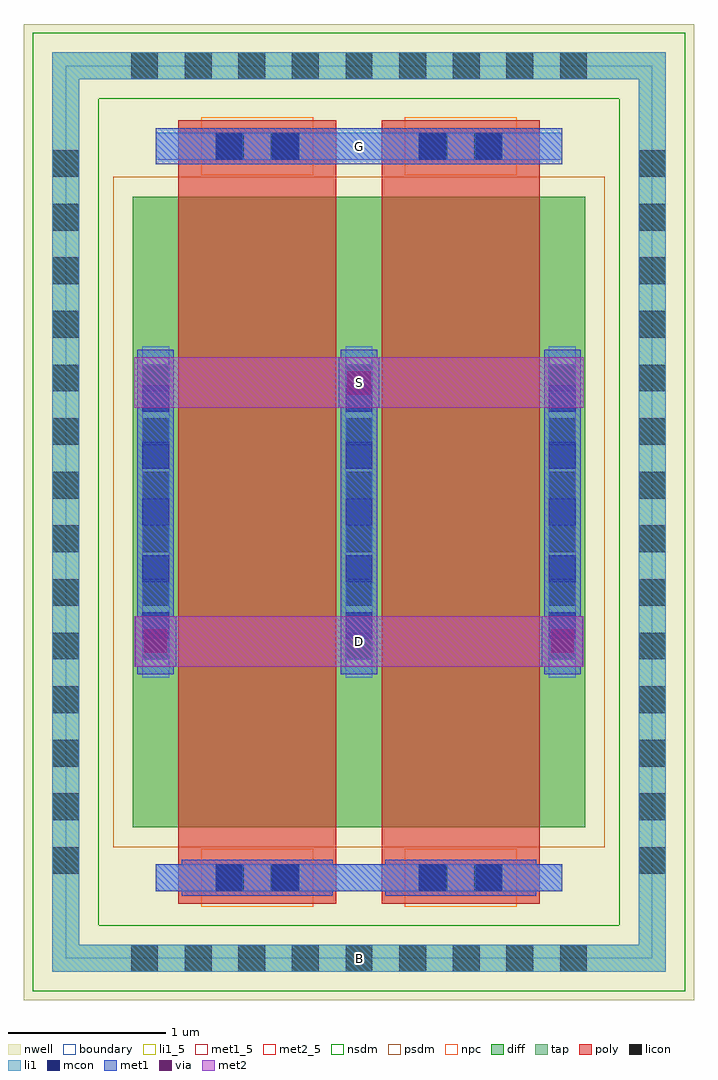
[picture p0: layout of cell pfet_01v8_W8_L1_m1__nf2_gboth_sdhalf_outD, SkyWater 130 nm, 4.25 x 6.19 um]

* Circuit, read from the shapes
.subckt pfet_01v8_W8_L1_m1__nf2_gboth_sdhalf_outD B D G S
XM1 S G D B sky130_fd_pr__pfet_01v8 w=4 l=1 m=2
.ends

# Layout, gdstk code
import gdstk
lib = gdstk.Library(unit=1e-6, precision=1e-09)
def R(c, l, rs):  # rectangles x0, y0, x1, y1
    for r in rs: c.add(gdstk.rectangle(r[:2], r[2:], *l))
def A(c, l, x, y, w, h, nx, ny, dx, dy):  # array of equal rectangles
    R(c, l, [(x+i*dx, y+j*dy, x+i*dx+w, y+j*dy+h) for i in range(nx) for j in range(ny)])
nwell = (64, 20)
diff = (65, 20)
tap = (65, 44)
poly = (66, 20)
licon = (66, 44)
li1_5 = (67, 5)
li1 = (67, 20)
mcon = (67, 44)
met1_5 = (68, 5)
met1 = (68, 20)
via = (68, 44)
met2_5 = (69, 5)
met2 = (69, 20)
nsdm = (93, 44)
psdm = (94, 20)
npc = (95, 20)
boundary = (235, 4)

sky130_fd_pr__pfet_01v8_ = lib.new_cell('sky130_fd_pr__pfet_01v8_GST8CF')
R(sky130_fd_pr__pfet_01v8_, nwell, [(-2.125,-3.095,2.125,3.095)])
R(sky130_fd_pr__pfet_01v8_, diff, [(-1.435,-2,1.435,2)])
R(sky130_fd_pr__pfet_01v8_, tap, [(-1.945,-2.915,1.945,-2.745), (-1.945,-2.745,-1.775,2.745), (1.775,-2.745,1.945,2.745), (-1.945,2.745,1.945,2.915)])
R(sky130_fd_pr__pfet_01v8_, poly, [(-1.145,-2.485,-0.145,2.485), (0.145,-2.485,1.145,2.485)])
A(sky130_fd_pr__pfet_01v8_, licon, -1.445, -2.915, 0.17, 0.17, 9, 2, 0.34, 5.66)
A(sky130_fd_pr__pfet_01v8_, licon, -1.945, -2.295, 0.17, 0.17, 1, 14, 0, 0.34)
A(sky130_fd_pr__pfet_01v8_, licon, 1.775, -2.295, 0.17, 0.17, 1, 14, 0, 0.34)
A(sky130_fd_pr__pfet_01v8_, licon, -1.375, -0.935, 0.17, 0.17, 3, 6, 1.29, 0.34)
R(sky130_fd_pr__pfet_01v8_, licon, [(-0.9,-2.405,-0.73,-2.235), (-0.56,-2.405,-0.39,-2.235), (0.39,-2.405,0.56,-2.235), (0.73,-2.405,0.9,-2.235), (-0.9,2.235,-0.73,2.405), (-0.56,2.235,-0.39,2.405), (0.39,2.235,0.56,2.405), (0.73,2.235,0.9,2.405)])
A(sky130_fd_pr__pfet_01v8_, li1, -1.375, -1.05, 0.17, 2.1, 3, 1, 1.29, 0)
R(sky130_fd_pr__pfet_01v8_, li1, [(-1.945,-2.915,1.945,-2.745), (-1.945,-2.745,-1.775,2.745), (1.775,-2.745,1.945,2.745), (-1.29,-2.405,1.29,-2.235), (-1.29,2.235,1.29,2.405), (-1.945,2.745,1.945,2.915)])
A(sky130_fd_pr__pfet_01v8_, mcon, -1.375, -0.805, 0.17, 0.17, 3, 5, 1.29, 0.36)
R(sky130_fd_pr__pfet_01v8_, mcon, [(-0.91,-2.405,-0.74,-2.235), (-0.55,-2.405,-0.38,-2.235), (0.38,-2.405,0.55,-2.235), (0.74,-2.405,0.91,-2.235), (-0.91,2.235,-0.74,2.405), (-0.55,2.235,-0.38,2.405), (0.38,2.235,0.55,2.405), (0.74,2.235,0.91,2.405)])
A(sky130_fd_pr__pfet_01v8_, met1, -1.405, -1.03, 0.23, 2.06, 3, 1, 1.29, 0)
R(sky130_fd_pr__pfet_01v8_, met1, [(-1.125,-2.435,-0.165,-2.405), (0.165,-2.435,1.125,-2.405), (-1.29,-2.405,1.29,-2.235), (-1.125,-2.235,-0.165,-2.205), (0.165,-2.235,1.125,-2.205), (-1.125,2.205,-0.165,2.235), (0.165,2.205,1.125,2.235), (-1.29,2.235,1.29,2.405), (-1.125,2.405,-0.165,2.435), (0.165,2.405,1.125,2.435)])
R(sky130_fd_pr__pfet_01v8_, nsdm, [(-2.07,-3.04,2.07,-2.62), (-2.07,-2.62,-1.65,2.62), (1.65,-2.62,2.07,2.62), (-2.07,2.62,2.07,3.04)])
R(sky130_fd_pr__pfet_01v8_, psdm, [(-1.56,-2.125,1.56,2.125)])
R(sky130_fd_pr__pfet_01v8_, npc, [(-1,-2.505,-0.29,-2.135), (0.29,-2.505,1,-2.135), (-1,2.135,-0.29,2.505), (0.29,2.135,1,2.505)])
R(sky130_fd_pr__pfet_01v8_, boundary, [(-1.86,-2.83,1.86,2.83)])
sky130_fd_pr__pfet_01v8_.add(gdstk.Label('B', (0,-2.83), layer=67, texttype=5))
sky130_fd_pr__pfet_01v8_.add(gdstk.Label('D0', (-1.29,0), layer=67, texttype=5))
sky130_fd_pr__pfet_01v8_.add(gdstk.Label('G', (0.645,2.32), layer=67, texttype=5))
sky130_fd_pr__pfet_01v8_.add(gdstk.Label('G', (-0.645,2.32), layer=67, texttype=5))
sky130_fd_pr__pfet_01v8_.add(gdstk.Label('S1', (0,0), layer=67, texttype=5))

pfet_01v8_w8_l1_m1__nf2_ = lib.new_cell('pfet_01v8_W8_L1_m1__nf2_gboth_sdhalf_outD')
R(pfet_01v8_w8_l1_m1__nf2_, li1_5, [(1.775,-0.085,1.945,0.085)])
R(pfet_01v8_w8_l1_m1__nf2_, li1, [(1.775,-0.085,1.945,0.085)])
R(pfet_01v8_w8_l1_m1__nf2_, met1_5, [(0.57,5.035,3.15,5.265)])
R(pfet_01v8_w8_l1_m1__nf2_, met1, [(0.44,1.85,0.7,2.17), (3.02,1.85,3.28,2.17), (1.73,3.49,1.99,3.81), (0.57,5.035,3.15,5.265)])
R(pfet_01v8_w8_l1_m1__nf2_, via, [(0.495,1.935,0.645,2.085), (3.075,1.935,3.225,2.085), (1.785,3.575,1.935,3.725)])
R(pfet_01v8_w8_l1_m1__nf2_, met2_5, [(0.435,1.85,3.285,2.17), (0.435,3.49,3.285,3.81)])
R(pfet_01v8_w8_l1_m1__nf2_, met2, [(0.435,1.85,3.285,2.17), (0.435,3.49,3.285,3.81)])
pfet_01v8_w8_l1_m1__nf2_.add(gdstk.Reference(sky130_fd_pr__pfet_01v8_, (1.86,2.83)))
pfet_01v8_w8_l1_m1__nf2_.add(gdstk.Label('S', (1.86,3.65), layer=69, texttype=5))
pfet_01v8_w8_l1_m1__nf2_.add(gdstk.Label('D', (1.86,2.01), layer=69, texttype=5))
pfet_01v8_w8_l1_m1__nf2_.add(gdstk.Label('G', (1.86,5.15), layer=68, texttype=5))
pfet_01v8_w8_l1_m1__nf2_.add(gdstk.Label('B', (1.86,0), layer=67, texttype=5))

lib.write_gds('pfet_01v8_W8_L1_m1__nf2_gboth_sdhalf_outD.gds')
